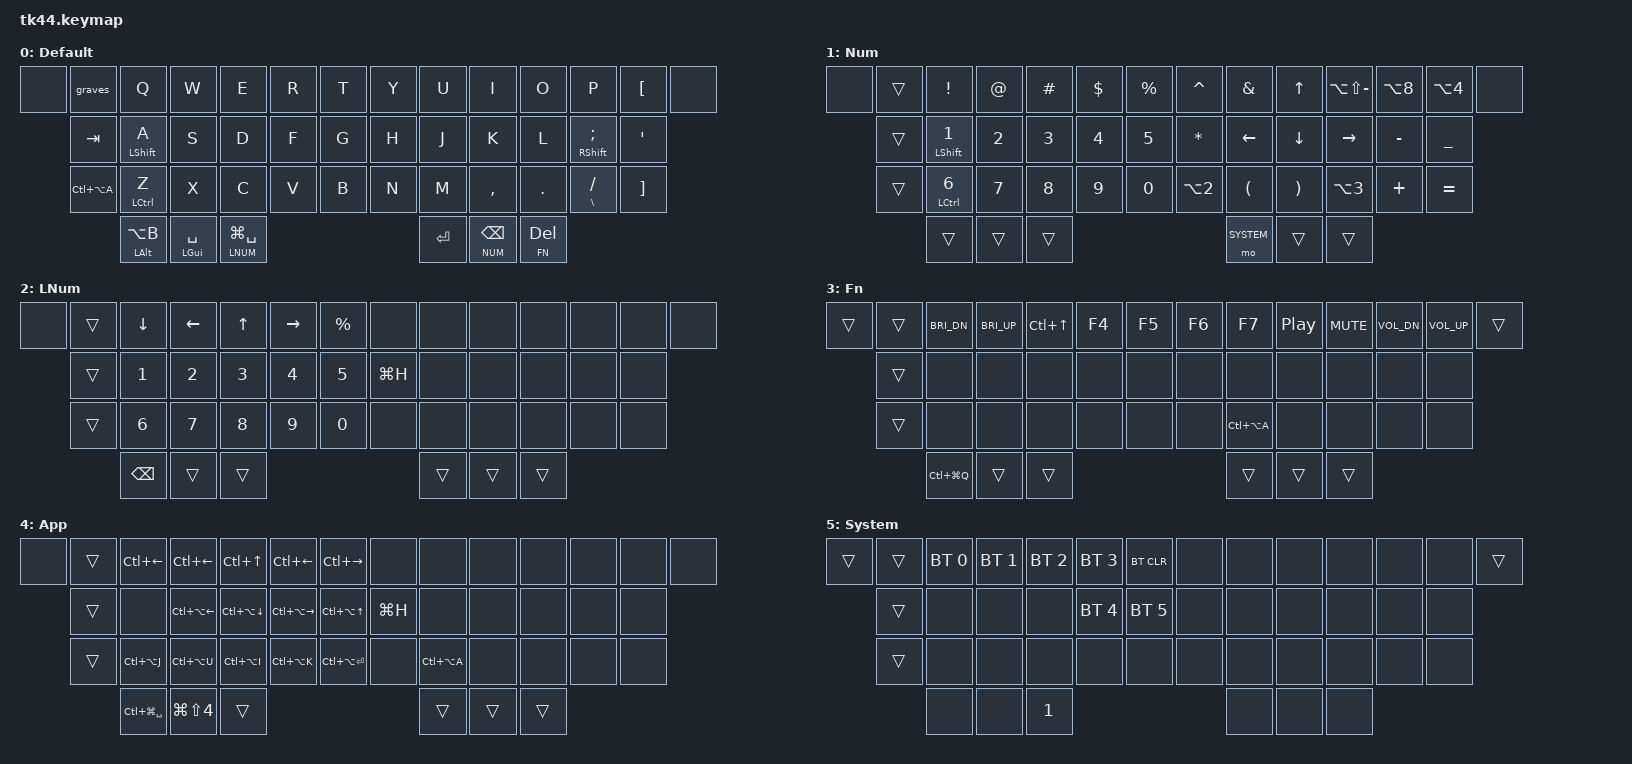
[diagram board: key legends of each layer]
/*
 * Copyright (c) 2020 The ZMK Contributors
 *
 * SPDX-License-Identifier: MIT
 */

#include <behaviors.dtsi>
#include <dt-bindings/zmk/keys.h>
#include <dt-bindings/zmk/bt.h>
#include <dt-bindings/zmk/outputs.h>

#define DEFAULT 0
#define NUM     1
#define LNUM    2
#define FN      3
#define APP     4
#define SYSTEM  5

&lt { quick-tap-ms = <200>; };
&mt { quick-tap-ms = <200>; };

/ {

  behaviors {
    
    graves: grave_escape {
      compatible = "zmk,behavior-mod-morph";
      #binding-cells = <0>;
      bindings = <&lhp APP GRAVE>, <&kp ESC>;
      mods = <(MOD_LGUI|MOD_RGUI)>;
    };
      
    hm: homerow_mods {
      compatible = "zmk,behavior-hold-tap";
      label = "HOMEROW_MODS";
      #binding-cells = <2>;
      tapping_term_ms = <300>;
      quick-tap-ms = <300>;
      flavor = "tap-preferred";
      bindings = <&kp>, <&kp>;
    };

    hmt: homerow_mods_no_quicktap {
      compatible = "zmk,behavior-hold-tap";
      label = "HOMEROW_MODS";
      #binding-cells = <2>;
      tapping_term_ms = <200>;
      quick-tap-ms = <200>;
      flavor = "balanced";
      bindings = <&kp>, <&kp>;
    };

    ltp: layer_tap_prefered {
      compatible = "zmk,behavior-hold-tap";
      label = "LAYER_TAP_PREFERED";
      #binding-cells = <2>;
      tapping_term_ms = <200>;
      quick-tap-ms = <200>;
      flavor = "balanced";
      bindings = <&mo>, <&kp>;
    };

    lhp: layer_hold_prefered {
      compatible = "zmk,behavior-hold-tap";
      label = "LAYER_HOLD_PREFERED";
      #binding-cells = <2>;
      tapping_term_ms = <250>;
      flavor = "hold-preferred";
      bindings = <&mo>, <&kp>;
    };
  };

  keymap {
    compatible = "zmk,keymap";

    // default_layer {
    //   label = "Default";
    //   bindings = <

    //     &none     &kp ESC         &kp Q          &kp W            &kp E   &kp R   &kp T         &kp Y      &kp U     &kp I       &kp O      &kp P             &kp LBKT    &none
    //               &lhp NUM TAB   &hm LSHFT A    &kp S            &kp D   &kp F   &kp G         &kp H      &kp J     &kp K       &kp L      &hm RSHFT SEMI    &kp APOS
    //               &kp GRAVE       &hm LCTRL Z    &kp X            &kp C   &kp V   &kp B         &kp N      &kp M     &kp COMMA   &kp DOT    &mt BSLH FSLH     &kp RBKT
    //                               &hm LALT LA(B)   &hm LGUI SPACE   &ltp APP LG(SPACE)          &kp ENTER            &lhp NUM BSPC          &ltp FN DEL
    //     >;
    // };

    default_layer {
      label = "Default";
      bindings = <

        &none     &graves         &kp Q          &kp W            &kp E   &kp R   &kp T         &kp Y      &kp U     &kp I       &kp O      &kp P             &kp LBKT    &none
                  &kp TAB         &hm LSHFT A    &kp S            &kp D   &kp F   &kp G         &kp H      &kp J     &kp K       &kp L      &hm RSHFT SEMI    &kp APOS
                  &kp LC(LA(A))   &hm LCTRL Z    &kp X            &kp C   &kp V   &kp B         &kp N      &kp M     &kp COMMA   &kp DOT    &mt BSLH FSLH     &kp RBKT
                                  &hm LALT LA(B)   &hm LGUI SPACE   &ltp LNUM LG(SPACE)         &kp ENTER      &lhp NUM BSPC          &ltp FN DEL
        >;
  };


    num_layer {
      label="Num";
      bindings = <

        &none   &trans     &kp EXCL &kp AT &kp HASH &kp DLLR &kp PERCENT        &kp CARET     &kp AMPS    &kp UP        &kp LA(LS(MINUS))   &kp LA(N8)  &kp LA(N4)   &none
                &trans     &hm LSHFT N1 &kp N2 &kp N3 &kp N4 &kp N5             &kp STAR      &kp LEFT    &kp DOWN      &kp RIGHT           &kp MINUS   &kp UNDER 
                &trans     &hm LCTRL N6 &kp N7 &kp N8 &kp N9 &kp N0             &kp LA(N2)    &kp LPAR    &kp RPAR      &kp LA(N3)          &kp PLUS    &kp EQUAL 
                &trans &trans &trans                                            &mo SYSTEM    &trans      &trans

      >;
    };



    // num_layer {
    //   label="Num";
    //   bindings = <

    //     &none   &trans     &kp EXCL &kp AT &kp HASH &kp DLLR &kp PERCENT        &kp CARET     &kp AMPS    &kp UP        &kp LPAR          &kp RPAR    &kp LA(LS(MINUS))   &none
    //             &trans     &hm LSHFT N1 &kp N2 &kp N3 &kp N4 &kp N5             &kp STAR      &kp LEFT    &kp DOWN      &kp RIGHT         &kp MINUS   &kp UNDER  
    //             &trans     &hm LCTRL N6 &kp N7 &kp N8 &kp N9 &kp N0             &kp LA(N2)    &kp LPAR    &kp RPAR  &kp LA(LS(SEMI))  &kp PLUS    &kp EQUAL 
    //             &trans &trans &trans                                            &mo SYSTEM    &trans      &trans

    //   >;
    // };

      lnum_layer {
      label="LNum";
      bindings = <

        &none   &trans     &kp DOWN   &kp LEFT  &kp UP    &kp RIGHT   &kp PERCENT       &none     &none       &none     &none       &none       &none     &none
                &trans     &kp N1     &kp N2    &kp N3    &kp N4      &kp N5            &kp LG(H) &none       &none     &none       &none       &none
                &trans     &kp N6     &kp N7    &kp N8    &kp N9      &kp N0            &none     &none       &none     &none       &none       &none
                &kp BSPC &trans &trans                                                  &trans    &trans      &trans    
      >;
    };    


    fn_layer {
      label = "Fn";
      bindings = <

        &trans  &trans  &kp C_BRI_DN  &kp C_BRI_UP  &kp LC(UP)  &kp F4  &kp F5        &kp F6  &kp F7          &kp C_PP  &kp C_MUTE  &kp C_VOL_DN  &kp C_VOL_UP    &trans
                &trans  &none         &none         &none       &none   &none         &none   &none           &none     &none       &none         &none
                &trans  &none         &none         &none       &none   &none         &none   &kp LC(LA(A))   &none     &none       &none         &none
                &kp LC(LG(Q))  &trans        &trans                                          &trans  &trans          &trans  

      >;
    };

    // app_layer {
    //   label = "App";
    //   bindings = <  
      
    //   &trans  &trans  &kp LC(LEFT)       &kp LEFT             &kp LC(UP)              &kp RIGHT                &kp LC(RIGHT)                  &none   &none           &none     &none       &none         &none   &trans
    //           &trans  &hm LSHFT N1       &kp N2               &kp N3                  &kp N4                   &kp N5                         &kp LG(H)   &none           &none     &none       &none         &none
    //           &trans  &hm LCTRL N6       &kp N7               &kp N8                  &kp N9                   &kp N0                         &none   &kp LC(LA(A))   &none     &none       &none         &none
    //           &kp LG(LS(N4))             &kp LC(LG(SPACE))    &trans                                                                          &trans  &trans          &trans
    //   >;
    // };

    app_layer {
      label = "App";
      bindings = <  
      
      &none   &trans  &kp LC(LEFT)       &kp LC(LEFT)           &kp LC(UP)            &kp LC(LEFT)             &kp LC(RIGHT)              &none   &none           &none     &none       &none         &none   &none
              &trans  &none              &kp LC(LA(LEFT))     &kp LC(LA(DOWN))        &kp LC(LA(RIGHT))        &kp LC(LA(UP))             &kp LG(H)   &none           &none     &none       &none         &none
              &trans  &kp LC(LA(J))      &kp LC(LA(U))        &kp LC(LA(I))           &kp LC(LA(K))            &kp LC(LA(ENTER))          &none   &kp LC(LA(A))   &none     &none       &none         &none
              &kp LC(LG(SPACE))          &kp LG(LS(N4))       &trans                                                                      &trans  &trans          &trans
      >;
    };

    system_layer {

      label = "System";
      bindings = <
   
      &trans  &trans  &bt BT_SEL 0      &bt BT_SEL 1   &bt BT_SEL 2    &bt BT_SEL 3    &bt BT_CLR           &none        &none        &none        &none        &none   &none   &trans
              &trans  &none             &none          &none           &bt BT_SEL 4    &bt BT_SEL 5         &none        &none        &none        &none        &none   &none
              &trans  &none             &none          &none           &none           &none                &none        &none        &none        &none        &none   &none
                                        &none          &none           &kp N1                               &none        &none        &none
      >;
    };
  };
};
